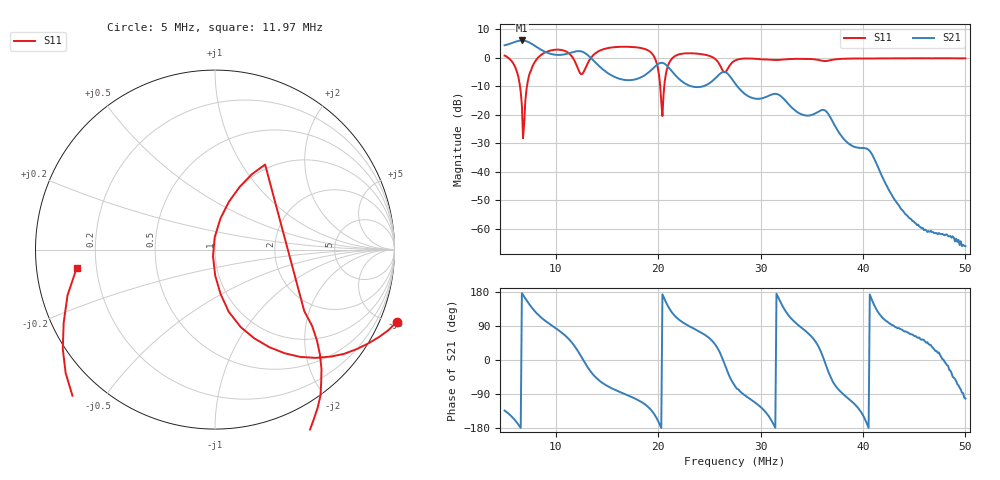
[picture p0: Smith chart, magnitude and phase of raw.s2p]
! S11/S21 only; reverse parameters are placeholders. Device calibration unverified.
! NanoVNA F V2 profile | COM3 | 2026-09-08T11:32:26.7518157-04:00 | device calibration unverified
# HZ S RI R 50
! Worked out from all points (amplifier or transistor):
!   401 points, 5 MHz to 50 MHz, reference 50 ohm
!   highest |S21| = 6.1 dB at 6.688 MHz (marker M1)
!   |S21| within 3 dB of that: start of sweep to 8.441 MHz
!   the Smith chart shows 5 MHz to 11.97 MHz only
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5000000  1.013 -0.4014  -1.138 -1.202  0 0  0 0
6125000  0.3026 -0.5437  -1.836 -0.5796  0 0  0 0
6687500  0.00127 -0.1455  -2.006 0.1309  0 0  0 0
7250000  0.1366 0.3485  -1.705 0.8572  0 0  0 0
7925000  0.5853 -0.587  -1.034 1.258  0 0  0 0
1.02875e7  -0.1646 -1.376  0.2296 1.097  0 0  0 0
1.16375e7  -0.8482 -0.5528  0.9033 0.8657  0 0  0 0
1.25375e7  -0.1603 0.4858  1.276 0.1435  0 0  0 0
1.355e7  1.033 0.2146  0.7664 -0.5456  0 0  0 0
1.49e7  1.345 -0.5543  0.2255 -0.5194  0 0  0 0
1.88375e7  0.5557 -1.278  -0.2557 -0.4472  0 0  0 0
2.0075e7  -0.269 -0.4301  -0.7657 -0.1941  0 0  0 0
2.075e7  0.4228 0.2955  -0.6708 0.3441  0 0  0 0
2.1875e7  1.113 -0.1256  -0.1538 0.4243  0 0  0 0
2.525e7  0.7799 -0.6766  0.2425 0.2992  0 0  0 0
2.6375e7  0.4602 -0.3371  0.5641 -0.0317  0 0  0 0
2.75e7  0.8685 -0.2128  0.1318 -0.3295  0 0  0 0
3.14375e7  0.754 -0.5155  -0.232 -0.00444  0 0  0 0
3.50375e7  0.6468 -0.6895  0.0502 0.0861  0 0  0 0
4.055e7  0.5136 -0.8197  -0.0241 -0.000332  0 0  0 0
4.2575e7  0.4423 -0.8708  -0.000541 0.00456  0 0  0 0
5e7  0.1606 -0.9627  -0.000101 -0.000482  0 0  0 0
